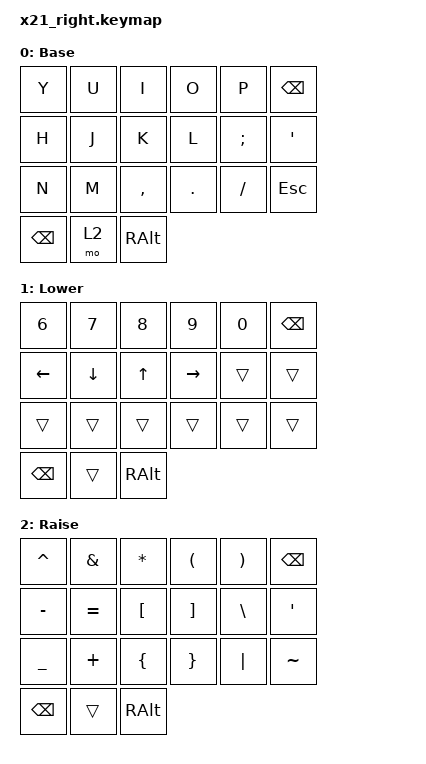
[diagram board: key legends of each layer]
#include <behaviors.dtsi>
#include <dt-bindings/zmk/keys.h>

/ {
    keymap {
        compatible = "zmk,keymap";

        base_layer {
            display-name = "Base";
            bindings = <
                &kp Y       &kp U       &kp I       &kp O       &kp P       &kp BSPC
                &kp H       &kp J       &kp K       &kp L       &kp SEMI    &kp SQT
                &kp N       &kp M       &kp COMMA   &kp DOT     &kp SLASH   &kp ESC
                &kp BSPC    &mo 2       &kp RALT
            >;
        };

        lower_layer {
            display-name = "Lower";
            bindings = <
                &kp N6      &kp N7      &kp N8      &kp N9      &kp N0      &kp BSPC
                &kp LEFT    &kp DOWN    &kp UP      &kp RIGHT   &trans      &trans
                &trans      &trans      &trans      &trans      &trans      &trans
                &kp BSPC    &trans      &kp RALT
            >;
        };

        raise_layer {
            display-name = "Raise";
            bindings = <
                &kp CARET   &kp AMPS    &kp ASTERISK &kp LPAR    &kp RPAR    &kp BSPC
                &kp MINUS   &kp EQUAL   &kp LBKT     &kp RBKT    &kp BSLH    &kp SQT
                &kp UNDER   &kp PLUS    &kp LBRC     &kp RBRC    &kp PIPE    &kp TILDE
                &kp BSPC    &trans      &kp RALT
            >;
        };
    };
};
